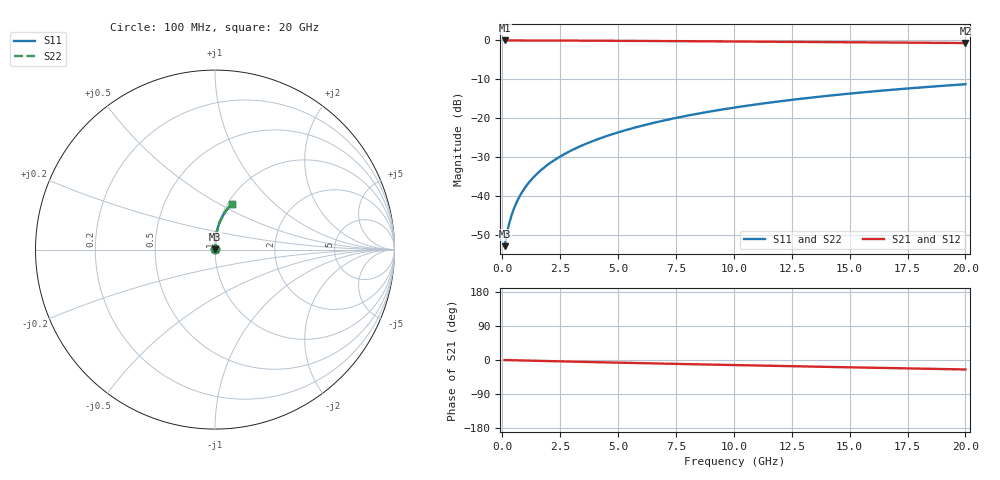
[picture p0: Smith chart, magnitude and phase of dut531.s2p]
! Touchstone file exported from HFSS 2024.1.0
!  File:  C:/UserFiles/LocalFiles/RDL_TSV_Batchsim/temp_RDL_top_531_1779680198.aedt
!  Generated:  11:39:01 AM May 25, 2026
!  Design:  RDL_top
!  Project:  temp_RDL_top_531_1779680198
!  Setup:  Setup1
!  Solution:  Sweep
! Variables:
!  dtsv = 10.80580581um
!  hbump = 3um
!  htsv = 58.2um
!  ldown = 100um
!  lrdl = 316.46um
!  p = 40
!  p1 = 50.1um
!  rhole = 1um
!  t = 450um
!  tdown = 3.915915916um
!  trdl = 3.52um
!  wdown = 15.38538539um
!  wrdl = 19.69um
# GHz S MA R 50.000000
! Terminal data exported
! Port[1] = Box2_T1
! Port[2] = Box2_T2
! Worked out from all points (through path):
!   200 points, 100 MHz to 20 GHz, reference 50 ohm
!   highest |S21| = -0.02 dB at 100 MHz (marker M1); lowest = -0.7 dB at 20 GHz (marker M2)
!   group delay of S21, straight-line fit = 3.44 ps
!   lowest |S11| = -52.9 dB at 100 MHz (marker M3), VSWR 1.00, Z = 50.2 + j0.138 ohm
!   |S11| at or under -10 dB: start of sweep to end of sweep
!   |S22| runs from -52.9 to -11.3 dB; largest |S21 - S12| = 3.9e-15
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0.1  0.002276 37.2  0.9982 -0.2  0.9982 -0.2  0.002276 37.2
! Gamma 0 0 0 0
! Port Impedance 50 0 50 0
0.2  0.003305 55.4  0.9981 -0.3  0.9981 -0.3  0.003305 55.4
0.3  0.004473 64.1  0.998 -0.4  0.998 -0.4  0.004473 64.1
0.4  0.005675 69.2  0.9979 -0.6  0.9979 -0.6  0.005675 69.2
0.5  0.006889 72.5  0.9978 -0.7  0.9978 -0.7  0.006889 72.5
0.6  0.008111 74.9  0.9977 -0.9  0.9977 -0.9  0.008111 74.9
0.8  0.01058 78.2  0.9976 -1.2  0.9976 -1.2  0.01058 78.2
1.1  0.01433 81.0  0.9973 -1.6  0.9973 -1.6  0.01433 81.0
1.5  0.01939 83.2  0.9968 -2.2  0.9968 -2.2  0.01939 83.2
1.8  0.02323 84.1  0.9963 -2.6  0.9963 -2.6  0.02323 84.1
2.1  0.02709 84.8  0.9958 -3.0  0.9958 -3.0  0.02709 84.8
2.7  0.0349 85.6  0.9946 -3.9  0.9946 -3.9  0.0349 85.6
3.5  0.04548 86.0  0.9926 -5.0  0.9926 -5.0  0.04547 86.0
4.2  0.05489 86.1  0.9905 -5.9  0.9905 -5.9  0.05489 86.1
5  0.06583 85.9  0.9879 -7.0  0.9879 -7.0  0.06583 85.9
5.9  0.07833 85.4  0.9847 -8.2  0.9847 -8.2  0.07833 85.4
6.8  0.091 84.8  0.9814 -9.4  0.9814 -9.4  0.091 84.8
8.4  0.1138 83.4  0.975 -11.4  0.975 -11.4  0.1138 83.4
10.1  0.1382 81.6  0.9681 -13.5  0.9681 -13.5  0.1382 81.6
13.4  0.1851 77.7  0.9541 -17.4  0.9541 -17.4  0.1851 77.7
16.7  0.2305 73.6  0.9396 -21.3  0.9396 -21.3  0.2305 73.6
20  0.2737 69.6  0.9244 -25.0  0.9244 -25.0  0.2737 69.6
